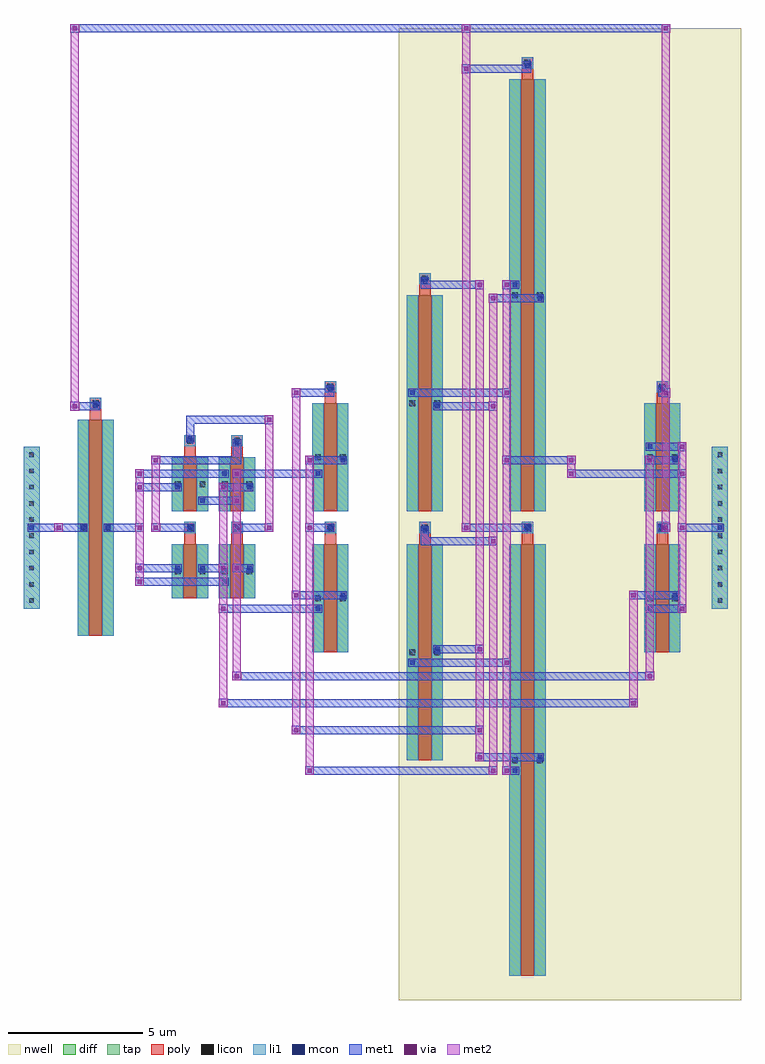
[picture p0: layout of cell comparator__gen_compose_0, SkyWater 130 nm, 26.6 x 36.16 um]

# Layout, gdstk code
import gdstk
lib = gdstk.Library(unit=1e-6, precision=1e-09)
def R(c, l, rs):  # rectangles x0, y0, x1, y1
    for r in rs: c.add(gdstk.rectangle(r[:2], r[2:], *l))
def A(c, l, x, y, w, h, nx, ny, dx, dy):  # array of equal rectangles
    R(c, l, [(x+i*dx, y+j*dy, x+i*dx+w, y+j*dy+h) for i in range(nx) for j in range(ny)])
nwell = (64, 20)
diff = (65, 20)
tap = (65, 44)
poly = (66, 20)
licon = (66, 44)
li1 = (67, 20)
mcon = (67, 44)
met1 = (68, 20)
via = (68, 44)
met2 = (69, 20)

route__route_1 = lib.new_cell('route__ROUTE$1')
R(route__route_1, nwell, [(13.9,2.5,26.6,38.5)])
R(route__route_1, tap, [(0,17,0.6,23), (25.5,17,26.1,23)])
A(route__route_1, licon, 0.215, 17.215, 0.17, 0.17, 1, 10, 0, 0.6)
A(route__route_1, licon, 25.715, 17.215, 0.17, 0.17, 1, 10, 0, 0.6)
R(route__route_1, li1, [(0,17,0.6,23), (25.5,17,26.1,23)])
R(route__route_1, mcon, [(18.125,10.915,18.295,11.085), (19.045,11.415,19.215,11.585), (14.325,14.915,14.495,15.085), (15.245,15.415,15.415,15.585), (10.825,16.915,10.995,17.085), (23.125,16.915,23.295,17.085), (11.745,17.415,11.915,17.585), (24.045,17.415,24.215,17.585), (7.365,17.915,7.535,18.085), (5.625,18.415,5.795,18.585), (6.545,18.415,6.715,18.585), (8.285,18.415,8.455,18.585), (14.785,19.825,14.955,19.995), (0.215,19.915,0.385,20.085), (2.125,19.915,2.295,20.085), (3.045,19.915,3.215,20.085), (6.085,19.915,6.255,20.085), (7.825,19.915,7.995,20.085), (11.285,19.915,11.455,20.085), (18.585,19.915,18.755,20.085), (23.585,19.915,23.755,20.085), (25.715,19.915,25.885,20.085), (6.545,20.915,6.715,21.085), (5.625,21.415,5.795,21.585), (8.285,21.415,8.455,21.585), (7.365,21.915,7.535,22.085), (10.825,21.915,10.995,22.085), (11.745,22.415,11.915,22.585), (24.045,22.415,24.215,22.585), (23.125,22.915,23.295,23.085), (7.825,23.045,7.995,23.215), (6.085,23.225,6.255,23.395), (15.245,24.415,15.415,24.585), (2.585,24.435,2.755,24.605), (14.325,24.915,14.495,25.085), (11.285,25.045,11.455,25.215), (23.585,25.045,23.755,25.215), (19.045,28.415,19.215,28.585), (18.125,28.915,18.295,29.085), (14.785,29.045,14.955,29.215), (18.585,37.045,18.755,37.215)])
A(route__route_1, met1, 4.14, 18.34, 0.32, 0.32, 1, 3, 0, 1.5)
R(route__route_1, met1, [(10.44,10.84,10.76,11.16), (17.24,10.84,17.56,11.16), (17.74,10.84,18.06,11.16), (10.45,10.85,17.55,11.15), (17.75,10.85,18.36,11.15), (18.06,10.85,18.36,11.15), (16.74,11.34,17.06,11.66), (16.75,11.35,19.28,11.65), (18.98,11.35,19.28,11.65), (9.94,12.34,10.26,12.66), (16.74,12.34,17.06,12.66), (9.95,12.35,17.05,12.65), (7.24,13.34,7.56,13.66), (22.44,13.34,22.76,13.66), (7.25,13.35,22.75,13.65), (7.74,14.34,8.06,14.66), (23.04,14.34,23.36,14.66), (7.75,14.35,23.35,14.65), (17.74,14.84,18.06,15.16), (14.26,14.85,14.56,15.15), (14.26,14.85,18.05,15.15), (16.74,15.34,17.06,15.66), (15.18,15.35,15.48,15.65), (15.18,15.35,17.05,15.65), (7.24,16.84,7.56,17.16), (24.24,16.84,24.56,17.16), (7.25,16.85,11.06,17.15), (10.76,16.85,11.06,17.15), (23.06,16.85,23.36,17.15), (23.06,16.85,24.55,17.15), (9.94,17.34,10.26,17.66), (22.44,17.34,22.76,17.66), (9.95,17.35,11.98,17.65), (11.68,17.35,11.98,17.65), (22.45,17.35,24.28,17.65), (23.98,17.35,24.28,17.65), (4.14,17.84,4.46,18.16), (4.15,17.85,7.6,18.15), (7.3,17.85,7.6,18.15), (7.24,18.34,7.56,18.66), (7.74,18.34,8.06,18.66), (4.15,18.35,5.86,18.65), (5.56,18.35,5.86,18.65), (6.48,18.35,6.78,18.65), (6.48,18.35,7.55,18.65), (7.75,18.35,8.52,18.65), (8.22,18.35,8.52,18.65), (17.24,19.34,17.56,19.66), (14.72,19.35,15.02,20.06), (14.72,19.35,17.55,19.65), (14.72,19.76,15.02,20.06), (1.14,19.84,1.46,20.16), (1.14,19.84,1.46,20.16), (4.74,19.84,5.06,20.16), (8.94,19.84,9.26,20.16), (10.44,19.84,10.76,20.16), (16.24,19.84,16.56,20.16), (23.64,19.84,23.96,20.16), (24.24,19.84,24.56,20.16), (0.15,19.85,0.45,20.15), (0.15,19.85,1.45,20.15), (1.15,19.85,2.36,20.15), (2.06,19.85,2.36,20.15), (2.98,19.85,3.28,20.15), (2.98,19.85,4.45,20.15), (4.75,19.85,6.32,20.15), (6.02,19.85,6.32,20.15), (7.76,19.85,8.06,20.15), (7.76,19.85,9.25,20.15), (10.45,19.85,11.52,20.15), (11.22,19.85,11.52,20.15), (16.25,19.85,18.82,20.15), (18.52,19.85,18.82,20.15), (23.52,19.85,23.95,20.15), (23.52,19.85,23.82,20.15), (24.25,19.85,25.95,20.15), (25.65,19.85,25.95,20.15), (7.74,20.84,8.06,21.16), (6.48,20.85,6.78,21.15), (6.48,20.85,8.05,21.15), (7.24,21.34,7.56,21.66), (4.15,21.35,5.86,21.65), (5.56,21.35,5.86,21.65), (7.25,21.35,8.52,21.65), (8.22,21.35,8.52,21.65), (4.14,21.84,4.46,22.16), (7.74,21.84,8.06,22.16), (20.14,21.84,20.46,22.16), (24.24,21.84,24.56,22.16), (4.15,21.85,7.6,22.15), (7.3,21.85,7.6,22.15), (7.75,21.85,11.06,22.15), (10.76,21.85,11.06,22.15), (20.15,21.85,24.55,22.15), (4.74,22.34,5.06,22.66), (10.44,22.34,10.76,22.66), (17.74,22.34,18.06,22.66), (20.14,22.34,20.46,22.66), (23.04,22.34,23.36,22.66), (4.75,22.35,8.06,22.65), (7.76,22.35,8.06,23.28), (10.45,22.35,11.98,22.65), (11.68,22.35,11.98,22.65), (17.75,22.35,20.45,22.65), (23.05,22.35,24.28,22.65), (23.98,22.35,24.28,22.65), (24.24,22.84,24.56,23.16), (23.06,22.85,23.36,23.15), (23.06,22.85,24.55,23.15), (7.76,22.98,8.06,23.28), (6.02,23.16,6.32,23.46), (6.02,23.16,6.32,24.15), (8.94,23.84,9.26,24.16), (6.02,23.85,9.25,24.15), (1.74,24.34,2.06,24.66), (17.24,24.34,17.56,24.66), (1.75,24.35,2.82,24.65), (2.52,24.35,2.82,24.67), (15.18,24.35,15.48,24.65), (15.18,24.35,17.55,24.65), (2.52,24.37,2.82,24.67), (9.94,24.84,10.26,25.16), (17.74,24.84,18.06,25.16), (23.64,24.84,23.96,25.16), (9.95,24.85,11.52,25.15), (11.22,24.85,11.52,25.28), (14.26,24.85,14.56,25.15), (14.26,24.85,18.05,25.15), (23.52,24.85,23.82,25.28), (23.52,24.85,23.95,25.15), (11.22,24.98,11.52,25.28), (23.52,24.98,23.82,25.28), (17.24,28.34,17.56,28.66), (17.25,28.35,19.28,28.65), (18.98,28.35,19.28,28.65), (16.74,28.84,17.06,29.16), (17.74,28.84,18.06,29.16), (14.72,28.85,15.02,29.28), (14.72,28.85,17.05,29.15), (17.75,28.85,18.36,29.15), (18.06,28.85,18.36,29.15), (14.72,28.98,15.02,29.28), (16.24,36.84,16.56,37.16), (16.25,36.85,18.82,37.15), (18.52,36.85,18.82,37.28), (18.52,36.98,18.82,37.28), (1.74,38.34,2.06,38.66), (16.24,38.34,16.56,38.66), (16.24,38.34,16.56,38.66), (23.64,38.34,23.96,38.66), (1.75,38.35,16.55,38.65), (16.25,38.35,23.95,38.65)])
A(route__route_1, via, 4.225, 18.425, 0.15, 0.15, 1, 3, 0, 1.5)
R(route__route_1, via, [(10.525,10.925,10.675,11.075), (17.325,10.925,17.475,11.075), (17.825,10.925,17.975,11.075), (16.825,11.425,16.975,11.575), (10.025,12.425,10.175,12.575), (16.825,12.425,16.975,12.575), (7.325,13.425,7.475,13.575), (22.525,13.425,22.675,13.575), (7.825,14.425,7.975,14.575), (23.125,14.425,23.275,14.575), (17.825,14.925,17.975,15.075), (16.825,15.425,16.975,15.575), (7.325,16.925,7.475,17.075), (24.325,16.925,24.475,17.075), (10.025,17.425,10.175,17.575), (22.525,17.425,22.675,17.575), (4.225,17.925,4.375,18.075), (7.325,18.425,7.475,18.575), (7.825,18.425,7.975,18.575), (17.325,19.425,17.475,19.575), (1.225,19.925,1.375,20.075), (1.225,19.925,1.375,20.075), (4.825,19.925,4.975,20.075), (9.025,19.925,9.175,20.075), (10.525,19.925,10.675,20.075), (16.325,19.925,16.475,20.075), (23.725,19.925,23.875,20.075), (24.325,19.925,24.475,20.075), (7.825,20.925,7.975,21.075), (7.325,21.425,7.475,21.575), (4.225,21.925,4.375,22.075), (7.825,21.925,7.975,22.075), (20.225,21.925,20.375,22.075), (24.325,21.925,24.475,22.075), (4.825,22.425,4.975,22.575), (10.525,22.425,10.675,22.575), (17.825,22.425,17.975,22.575), (20.225,22.425,20.375,22.575), (23.125,22.425,23.275,22.575), (24.325,22.925,24.475,23.075), (9.025,23.925,9.175,24.075), (1.825,24.425,1.975,24.575), (17.325,24.425,17.475,24.575), (10.025,24.925,10.175,25.075), (17.825,24.925,17.975,25.075), (23.725,24.925,23.875,25.075), (17.325,28.425,17.475,28.575), (16.825,28.925,16.975,29.075), (17.825,28.925,17.975,29.075), (16.325,36.925,16.475,37.075), (1.825,38.425,1.975,38.575), (16.325,38.425,16.475,38.575), (16.325,38.425,16.475,38.575), (23.725,38.425,23.875,38.575)])
A(route__route_1, met2, 4.14, 18.34, 0.32, 0.32, 1, 3, 0, 1.5)
R(route__route_1, met2, [(10.44,10.84,10.76,11.16), (17.24,10.84,17.56,11.16), (17.74,10.84,18.06,11.16), (10.45,10.85,10.75,22.65), (17.25,10.85,17.55,28.65), (17.75,10.85,18.05,29.15), (16.74,11.34,17.06,11.66), (16.75,11.35,17.05,29.15), (9.94,12.34,10.26,12.66), (16.74,12.34,17.06,12.66), (9.95,12.35,10.25,25.15), (7.24,13.34,7.56,13.66), (22.44,13.34,22.76,13.66), (7.25,13.35,7.55,21.65), (22.45,13.35,22.75,17.65), (7.74,14.34,8.06,14.66), (23.04,14.34,23.36,14.66), (7.75,14.35,8.05,22.15), (23.05,14.35,23.35,22.65), (17.74,14.84,18.06,15.16), (16.74,15.34,17.06,15.66), (7.24,16.84,7.56,17.16), (24.24,16.84,24.56,17.16), (24.25,16.85,24.55,23.15), (9.94,17.34,10.26,17.66), (22.44,17.34,22.76,17.66), (4.14,17.84,4.46,18.16), (4.15,17.85,4.45,22.15), (7.24,18.34,7.56,18.66), (7.74,18.34,8.06,18.66), (17.24,19.34,17.56,19.66), (1.14,19.84,1.46,20.16), (1.14,19.84,1.46,20.16), (4.74,19.84,5.06,20.16), (8.94,19.84,9.26,20.16), (10.44,19.84,10.76,20.16), (16.24,19.84,16.56,20.16), (23.64,19.84,23.96,20.16), (24.24,19.84,24.56,20.16), (1.15,19.85,1.45,20.15), (4.75,19.85,5.05,22.65), (8.95,19.85,9.25,24.15), (16.25,19.85,16.55,38.65), (23.65,19.85,23.95,38.65), (7.74,20.84,8.06,21.16), (7.24,21.34,7.56,21.66), (4.14,21.84,4.46,22.16), (7.74,21.84,8.06,22.16), (20.14,21.84,20.46,22.16), (24.24,21.84,24.56,22.16), (20.15,21.85,20.45,22.65), (4.74,22.34,5.06,22.66), (10.44,22.34,10.76,22.66), (17.74,22.34,18.06,22.66), (20.14,22.34,20.46,22.66), (23.04,22.34,23.36,22.66), (24.24,22.84,24.56,23.16), (8.94,23.84,9.26,24.16), (1.74,24.34,2.06,24.66), (17.24,24.34,17.56,24.66), (1.75,24.35,2.05,38.65), (9.94,24.84,10.26,25.16), (17.74,24.84,18.06,25.16), (23.64,24.84,23.96,25.16), (17.24,28.34,17.56,28.66), (16.74,28.84,17.06,29.16), (17.74,28.84,18.06,29.16), (16.24,36.84,16.56,37.16), (1.74,38.34,2.06,38.66), (16.24,38.34,16.56,38.66), (16.24,38.34,16.56,38.66), (23.64,38.34,23.96,38.66)])
route__route_1.add(gdstk.Label('VINN', (4.9,20), layer=68, texttype=5))
route__route_1.add(gdstk.Label('VINP', (9.1,20), layer=68, texttype=5))
route__route_1.add(gdstk.Label('CLK', (1.9,24.5), layer=68, texttype=5))
route__route_1.add(gdstk.Label('OUTP', (10.1,17.5), layer=68, texttype=5))
route__route_1.add(gdstk.Label('OUTN', (10.6,22.5), layer=68, texttype=5))
route__route_1.add(gdstk.Label('GND', (1.3,20), layer=68, texttype=5))
route__route_1.add(gdstk.Label('VDD', (17.9,15), layer=68, texttype=5))

diff_pair_4 = lib.new_cell('diff_pair$4')
R(diff_pair_4, nwell, [(-0.15,-0.15,1.49,10.19)])
R(diff_pair_4, diff, [(0,0,1.34,4), (0,5.22,1.34,9.22)])
R(diff_pair_4, poly, [(0.42,0,0.92,4), (0.46,4,0.88,4.82), (0.42,5.22,0.92,9.22), (0.46,9.22,0.88,10.04)])
R(diff_pair_4, licon, [(0.1,1.89,0.32,2.11), (1.02,1.89,1.24,2.11), (0.56,4.5,0.78,4.72), (0.1,7.11,0.32,7.33), (1.02,7.11,1.24,7.33), (0.56,9.72,0.78,9.94)])
R(diff_pair_4, li1, [(0,0,0.42,4), (0.92,0,1.34,4), (0.46,4.4,0.88,4.82), (0,5.22,0.42,9.22), (0.92,5.22,1.34,9.22), (0.46,9.62,0.88,10.04)])

rstd__rstd = lib.new_cell('rstd__RSTD')
rstd__rstd.add(gdstk.Reference(diff_pair_4, (0,0)))

diff_pair_3 = lib.new_cell('diff_pair$3')
R(diff_pair_3, nwell, [(-0.15,-0.15,1.49,34.19)])
R(diff_pair_3, diff, [(0,0,1.34,16), (0,17.22,1.34,33.22)])
R(diff_pair_3, poly, [(0.42,0,0.92,16), (0.46,16,0.88,16.82), (0.42,17.22,0.92,33.22), (0.46,33.22,0.88,34.04)])
R(diff_pair_3, licon, [(0.1,7.89,0.32,8.11), (1.02,7.89,1.24,8.11), (0.56,16.5,0.78,16.72), (0.1,25.11,0.32,25.33), (1.02,25.11,1.24,25.33), (0.56,33.72,0.78,33.94)])
R(diff_pair_3, li1, [(0,0,0.42,16), (0.92,0,1.34,16), (0.46,16.4,0.88,16.82), (0,17.22,0.42,33.22), (0.92,17.22,1.34,33.22), (0.46,33.62,0.88,34.04)])

rst__rst = lib.new_cell('rst__RST')
rst__rst.add(gdstk.Reference(diff_pair_3, (0,0)))

diff_pair_2 = lib.new_cell('diff_pair$2')
R(diff_pair_2, nwell, [(-0.15,-0.15,1.49,18.19)])
R(diff_pair_2, diff, [(0,0,1.34,8), (0,9.22,1.34,17.22)])
R(diff_pair_2, poly, [(0.42,0,0.92,8), (0.46,8,0.88,8.82), (0.42,9.22,0.92,17.22), (0.46,17.22,0.88,18.04)])
R(diff_pair_2, licon, [(0.1,3.89,0.32,4.11), (1.02,3.89,1.24,4.11), (0.56,8.5,0.78,8.72), (0.1,13.11,0.32,13.33), (1.02,13.11,1.24,13.33), (0.56,17.72,0.78,17.94)])
R(diff_pair_2, li1, [(0,0,0.42,8), (0.92,0,1.34,8), (0.46,8.4,0.88,8.82), (0,9.22,0.42,17.22), (0.92,9.22,1.34,17.22), (0.46,17.62,0.88,18.04)])

latp__latp = lib.new_cell('latp__LATP')
latp__latp.add(gdstk.Reference(diff_pair_2, (0,0)))

diff_pair_1 = lib.new_cell('diff_pair$1')
R(diff_pair_1, diff, [(0,0,1.34,4), (0,5.22,1.34,9.22)])
R(diff_pair_1, poly, [(0.42,0,0.92,4), (0.46,4,0.88,4.82), (0.42,5.22,0.92,9.22), (0.46,9.22,0.88,10.04)])
R(diff_pair_1, licon, [(0.1,1.89,0.32,2.11), (1.02,1.89,1.24,2.11), (0.56,4.5,0.78,4.72), (0.1,7.11,0.32,7.33), (1.02,7.11,1.24,7.33), (0.56,9.72,0.78,9.94)])
R(diff_pair_1, li1, [(0,0,0.42,4), (0.92,0,1.34,4), (0.46,4.4,0.88,4.82), (0,5.22,0.42,9.22), (0.92,5.22,1.34,9.22), (0.46,9.62,0.88,10.04)])

latn__latn = lib.new_cell('latn__LATN')
latn__latn.add(gdstk.Reference(diff_pair_1, (0,0)))

diff_pair = lib.new_cell('diff_pair')
R(diff_pair, diff, [(0,0,1.34,2), (1.74,0,3.08,2), (0,3.22,1.34,5.22), (1.74,3.22,3.08,5.22)])
R(diff_pair, poly, [(0.42,0,0.92,2), (2.16,0,2.66,2), (0.46,2,0.88,2.82), (2.2,2,2.62,2.82), (0.42,3.22,0.92,5.22), (2.16,3.22,2.66,5.22), (0.46,5.22,0.88,6.04), (2.2,5.22,2.62,6.04)])
R(diff_pair, licon, [(0.1,0.89,0.32,1.11), (1.02,0.89,1.24,1.11), (1.84,0.89,2.06,1.11), (2.76,0.89,2.98,1.11), (0.56,2.5,0.78,2.72), (2.3,2.5,2.52,2.72), (0.1,4.11,0.32,4.33), (1.02,4.11,1.24,4.33), (1.84,4.11,2.06,4.33), (2.76,4.11,2.98,4.33), (0.56,5.72,0.78,5.94), (2.3,5.72,2.52,5.94)])
R(diff_pair, li1, [(0,0,0.42,2), (0.92,0,1.34,2), (1.74,0,2.16,2), (2.66,0,3.08,2), (0.46,2.4,0.88,2.82), (2.2,2.4,2.62,2.82), (0,3.22,0.42,5.22), (0.92,3.22,1.34,5.22), (1.74,3.22,2.16,5.22), (2.66,3.22,3.08,5.22), (0.46,5.62,0.88,6.04), (2.2,5.62,2.62,6.04)])

inpair__inpair = lib.new_cell('inpair__INPAIR')
inpair__inpair.add(gdstk.Reference(diff_pair, (0,0)))

mos_array_20 = lib.new_cell('mos_array$20')
R(mos_array_20, diff, [(0,0,1.34,8)])
R(mos_array_20, poly, [(0.42,0,0.92,8), (0.46,8,0.88,8.82)])
R(mos_array_20, licon, [(0.1,3.89,0.32,4.11), (1.02,3.89,1.24,4.11), (0.56,8.5,0.78,8.72)])
R(mos_array_20, li1, [(0,0,0.42,8), (0.92,0,1.34,8), (0.46,8.4,0.88,8.82)])

tail__tail = lib.new_cell('tail__TAIL')
tail__tail.add(gdstk.Reference(mos_array_20, (0,0)))

comparator__gen_compose_ = lib.new_cell('comparator__gen_compose_0')
comparator__gen_compose_.add(gdstk.Reference(route__route_1, (0,0)))
comparator__gen_compose_.add(gdstk.Reference(rstd__rstd, (23,15.39)))
comparator__gen_compose_.add(gdstk.Reference(rst__rst, (18,3.39)))
comparator__gen_compose_.add(gdstk.Reference(latp__latp, (14.2,11.39)))
comparator__gen_compose_.add(gdstk.Reference(latn__latn, (10.7,15.39)))
comparator__gen_compose_.add(gdstk.Reference(inpair__inpair, (5.5,17.39)))
comparator__gen_compose_.add(gdstk.Reference(tail__tail, (2,16)))

lib.write_gds('comparator__gen_compose_0.gds')
